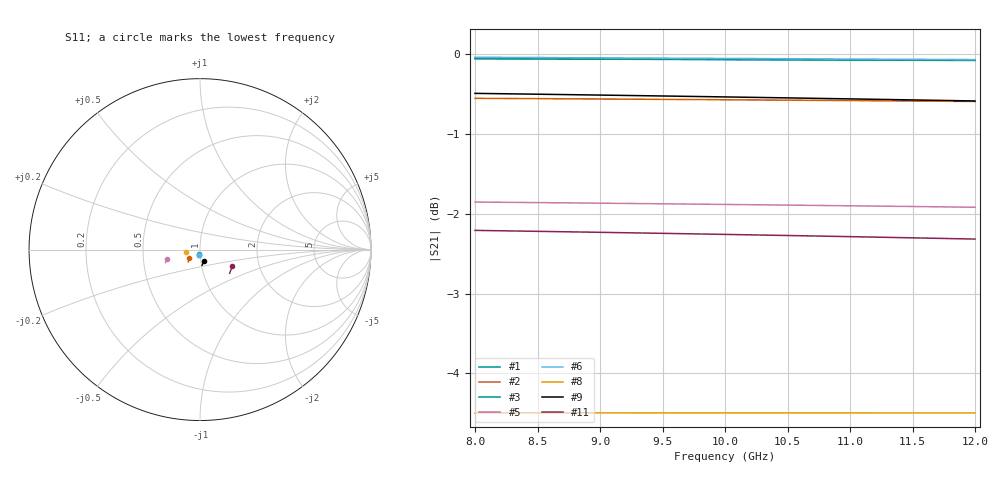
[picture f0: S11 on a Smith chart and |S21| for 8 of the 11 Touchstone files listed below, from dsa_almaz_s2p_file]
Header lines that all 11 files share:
# ghz S db R 50
! 2 Port Network Data from SP1.SP block
! freq  dbS11  angS11  dbS21  angS21  dbS12  angS12  dbS22  angS22
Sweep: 8 GHz to 12 GHz
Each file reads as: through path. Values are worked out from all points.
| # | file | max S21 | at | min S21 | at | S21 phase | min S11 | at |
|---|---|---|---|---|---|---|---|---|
| 1 | 0.5_10_0.s2p | -0.06 dB | 8 GHz | -0.1 dB | 12 GHz | -2 deg at 10 GHz | -31.6 dB | 8 GHz |
| 2 | 0.5_10_1.s2p | -0.56 dB | 8 GHz | -0.6 dB | 12 GHz | -4 deg at 10 GHz | -21.9 dB | 8 GHz |
| 3 | 1_10_0.s2p | -0.06 dB | 8 GHz | -0.1 dB | 12 GHz | -2 deg at 10 GHz | -30.5 dB | 8 GHz |
| 4 | 1_10_1.s2p | -1.04 dB | 8 GHz | -1.1 dB | 12 GHz | -4 deg at 10 GHz | -17.9 dB | 8 GHz |
| 5 | 2_9.5_1.s2p | -1.85 dB | 8 GHz | -1.9 dB | 12 GHz | -5 deg at 10 GHz | -13.9 dB | 8 GHz |
| 6 | 2_10_0.s2p | -0.04 dB | 8 GHz | -0.1 dB | 12 GHz | -2 deg at 10 GHz | -30.0 dB | 8 GHz |
| 7 | 4_8.83_0.s2p | -0.50 dB | 8 GHz | -0.5 dB | 12 GHz | -2 deg at 10 GHz | -25.4 dB | 8 GHz |
| 8 | 4_11.1_1.s2p | -4.49 dB | 8 GHz | -4.5 dB | 12 GHz | -0 deg at 10 GHz | -21.4 dB | 8 GHz |
| 9 | 8_8_0.s2p | -0.49 dB | 8 GHz | -0.6 dB | 12 GHz | -5 deg at 10 GHz | -23.2 dB | 8 GHz |
| 10 | 8_10_1.s2p | -8.34 dB | 12 GHz | -8.4 dB | 8 GHz | 1 deg at 10 GHz | -21.7 dB | 8 GHz |
| 11 | 16_9.5_0.s2p | -2.21 dB | 8 GHz | -2.3 dB | 12 GHz | -7 deg at 10 GHz | -13.5 dB | 8 GHz |
